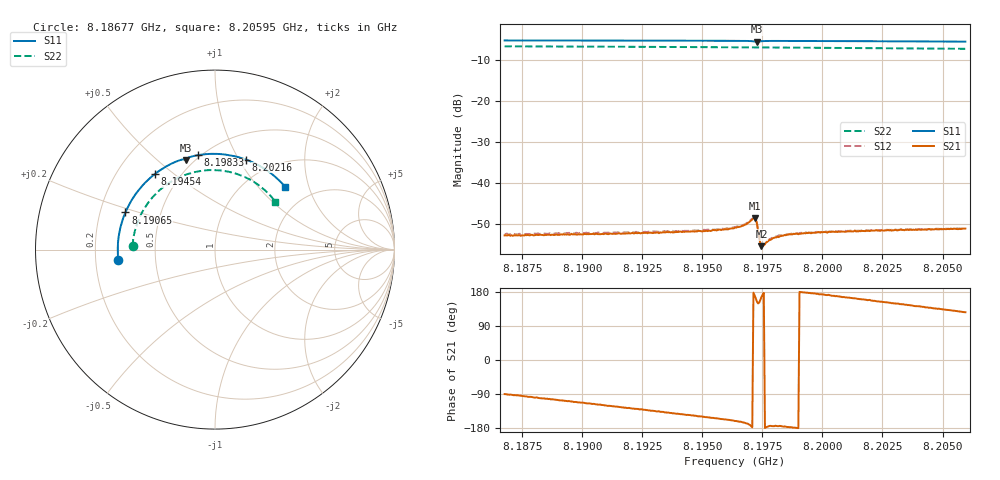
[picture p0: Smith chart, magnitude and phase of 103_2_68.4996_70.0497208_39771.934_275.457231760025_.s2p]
#  HZ  S  RI  R  50.00
! Rohde & Schwarz Vector Network Analyzer
! Rohde-Schwarz,ZNB20-2Port,1311601062101988,3.16
! Created: UTC 3/20/2024, 5:08:17 PM
! freq[Hz]  re:S11  im:S11  re:S21  im:S21  re:S12  im:S12  re:S22  im:S22
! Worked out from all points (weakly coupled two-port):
!   401 points, 8.18677 GHz to 8.20595 GHz, reference 50 ohm
!   highest |S21| = -48.41 dB at 8.19718 GHz (marker M1); lowest = -55.3 dB at 8.19746 GHz (marker M2)
!   lowest |S11| = -5.6 dB at 8.19727 GHz (marker M3), VSWR 3.20, Z = 22.7 + j31.1 ohm
!   |S11| at or under -10 dB: nowhere
!   |S22| runs from -7.3 to -6.7 dB; largest |S21 - S12| = 0.00021
!   S11 on the Smith chart (normalised r, x): 8.18677 GHz: 0.30, -0.05; 8.19065 GHz: 0.31, +0.18; 8.19454 GHz: 0.36, +0.43; 8.19833 GHz: 0.48, +0.71; 8.20216 GHz: 0.77, +1.07; 8.20595 GHz: 1.47, +1.42
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8.186768e9  -0.5388 -0.0588  2.52e-06 -0.00233  -4.82e-05 -0.00243  -0.4596 0.0189
8.188399e9  -0.5386 0.055  -0.000457 -0.00229  -0.000533 -0.00238  -0.4452 0.1084
8.189981e9  -0.5157 0.1633  -0.000921 -0.00221  -0.001 -0.00225  -0.4148 0.1907
8.190653e9  -0.4993 0.2073  -0.00112 -0.00213  -0.00122 -0.00222  -0.3969 0.2237
8.193195e9  -0.4038 0.3572  -0.00176 -0.00175  -0.00192 -0.00172  -0.307 0.3324
8.194538e9  -0.3346 0.4215  -0.00216 -0.00145  -0.00226 -0.00139  -0.2468 0.377
8.195545e9  -0.2756 0.4612  -0.00242 -0.00121  -0.00249 -0.00111  -0.197 0.4034
8.19636e9  -0.2235 0.4876  -0.00274 -0.000943  -0.0028 -0.000871  -0.1544 0.4203
8.196696e9  -0.2005 0.4966  -0.00294 -0.000803  -0.00304 -0.000716  -0.1362 0.426
8.19708e9  -0.1711 0.5026  -0.00365 -0.000151  -0.00369 3.49e-05  -0.1152 0.4312
8.197176e9  -0.1641 0.5004  -0.00375 0.000619  -0.00382 0.000762  -0.11 0.4325
8.197224e9  -0.1624 0.4985  -0.00352 0.00106  -0.00351 0.00127  -0.1074 0.4328
8.197272e9  -0.1626 0.4976  -0.00294 0.00142  -0.00291 0.00155  -0.1047 0.4334
8.197415e9  -0.1603 0.5048  -0.00174 0.000671  -0.00172 0.000774  -0.097 0.4352
8.197463e9  -0.1575 0.5075  -0.00167 0.000407  -0.00175 0.000508  -0.0943 0.4357
8.197559e9  -0.1506 0.5116  -0.00176 9.09e-05  -0.00182 0.000145  -0.089 0.4368
8.197895e9  -0.126 0.5198  -0.0021 -0.000205  -0.00217 -0.000126  -0.0702 0.4397
8.198327e9  -0.0949 0.5262  -0.0023 -0.000205  -0.00233 -0.0001  -0.0459 0.4422
8.199574e9  -0.00659 0.5335  -0.0025 0.000158  -0.00252 0.000275  0.0247 0.4414
8.202164e9  0.1729 0.5015  -0.00243 0.00107  -0.00243 0.0012  0.1673 0.4038
8.202787e9  0.2136 0.4845  -0.00234 0.0013  -0.00233 0.00141  0.1993 0.3876
8.205953e9  0.3909 0.3498  -0.00166 0.00228  -0.00158 0.00234  0.3364 0.2665
